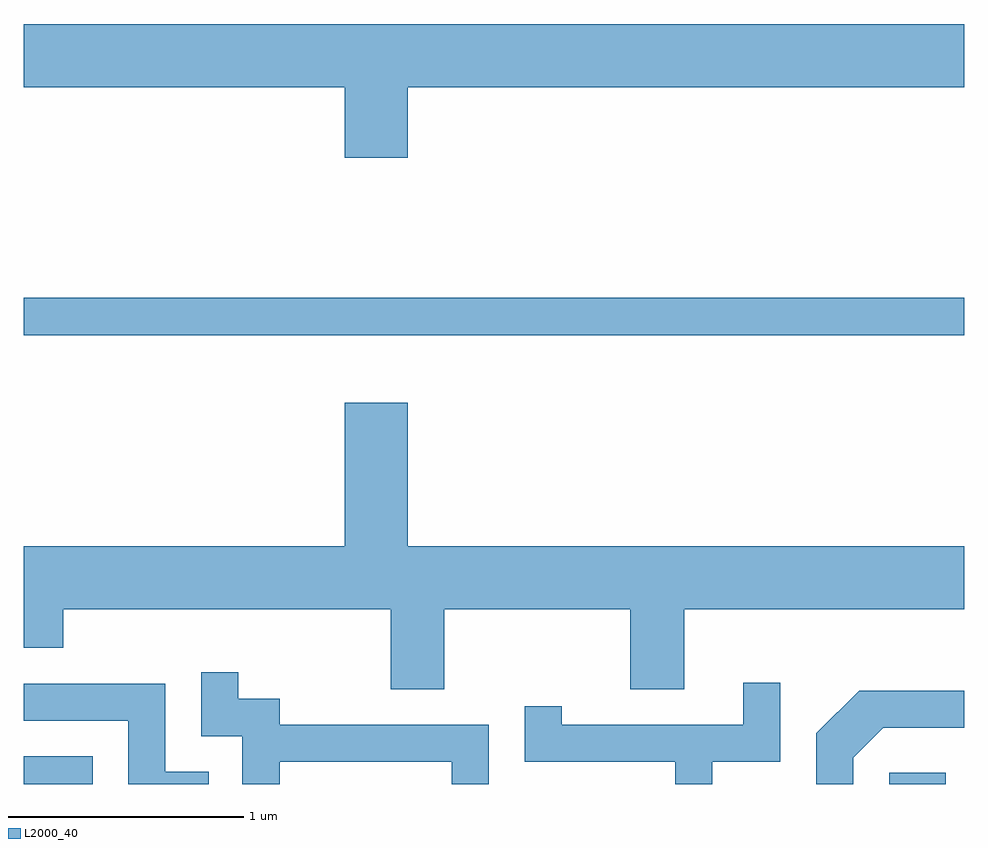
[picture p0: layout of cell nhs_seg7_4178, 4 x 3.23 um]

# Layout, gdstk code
import gdstk
lib = gdstk.Library(unit=1e-6, precision=1e-09)
def R(c, l, rs):  # rectangles x0, y0, x1, y1
    for r in rs: c.add(gdstk.rectangle(r[:2], r[2:], *l))
def P(c, l, *ps):  # polygons
    for p in ps: c.add(gdstk.Polygon(p, *l))
L2000_40 = (2000, 40)

nhs_seg7_4178 = lib.new_cell('nhs_seg7_4178')
R(nhs_seg7_4178, L2000_40, [(313.611,1700.252,313.904,1700.369), (317.291,1700.252,317.533,1700.299), (313.611,1702.161,317.611,1702.319)])
P(nhs_seg7_4178, L2000_40, [(315.244,1703.216),(317.611,1703.216),(317.611,1703.484),(313.611,1703.484),(313.611,1703.216),(314.976,1703.216),(314.976,1702.916),(315.244,1702.916)],
  [(314.976,1701.264),(313.611,1701.264),(313.611,1700.831),(313.779,1700.831),(313.779,1700.996),(315.171,1700.996),(315.171,1700.656),(315.399,1700.656),(315.399,1700.996),(316.191,1700.996),(316.191,1700.656),(316.419,1700.656),(316.419,1700.996),(317.611,1700.996),(317.611,1701.264),(315.244,1701.264),(315.244,1701.874),(314.976,1701.874)],
  [(314.699,1700.346),(315.431,1700.346),(315.431,1700.252),(315.589,1700.252),(315.589,1700.504),(314.699,1700.504),(314.699,1700.614),(314.524,1700.614),(314.524,1700.728),(314.366,1700.728),(314.366,1700.456),(314.541,1700.456),(314.541,1700.252),(314.699,1700.252)],
  [(316.539,1700.346),(316.829,1700.346),(316.829,1700.683),(316.671,1700.683),(316.671,1700.504),(315.899,1700.504),(315.899,1700.583),(315.741,1700.583),(315.741,1700.346),(316.381,1700.346),(316.381,1700.252),(316.539,1700.252)],
  [(314.398,1700.304),(314.214,1700.304),(314.214,1700.679),(313.611,1700.679),(313.611,1700.521),(314.056,1700.521),(314.056,1700.252),(314.398,1700.252)],
  [(317.139,1700.364),(317.267,1700.491),(317.611,1700.491),(317.611,1700.649),(317.164,1700.649),(316.981,1700.467),(316.981,1700.252),(317.139,1700.252)])

lib.write_gds('nhs_seg7_4178.gds')
